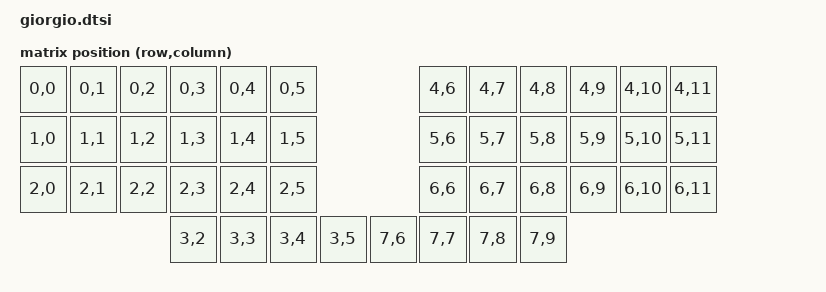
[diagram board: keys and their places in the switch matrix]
#include <dt-bindings/zmk/matrix_transform.h>
#include "giorgio-layouts.dtsi"

/ {
    chosen {
        zmk,physical-layout = &physical_layout0;
    };

    kscan0: kscan0 {
        compatible = "zmk,kscan-gpio-matrix";
        diode-direction = "col2row";
        wakeup-source;
    };

    default_transform: keymap_transform0 {
        compatible = "zmk,matrix-transform";
        columns = <12>;
        rows = <4>;
        map = <
        //  LKey 1 |LKey 2 |LKey 3 |LKey 4 |LKey 5 |LKey 6                      RKey 1 |RKey 2 |RKey 3 |RKey 4 |RKey 5  |RKey 6
        //  LKey 7 |LKey 8 |LKey 9 |LKey10 |LKey11 |LKey 12                     RKey 7 |RKey 8 |RKey 9 |RKey10 |RKey11 |RKey 12     
        //  LKey13 |LKey14 |LKey15 |LKey16 |LKey17 |LKey 18                     RKey13 |RKey14 |RKey15 |RKey16 |RKey17 |RKey 18     
        //                         |LKey19 |LKey20 |LKey21 |LKey 22     RKey19 |RKey20 |RKey21 |RKey22
            RC(0,0) RC(0,1) RC(0,2) RC(0,3) RC(0,4) RC(0,5)                     RC(4,6) RC(4,7) RC(4,8) RC(4,9) RC(4,10) RC(4,11)
            RC(1,0) RC(1,1) RC(1,2) RC(1,3) RC(1,4) RC(1,5)                     RC(5,6) RC(5,7) RC(5,8) RC(5,9) RC(5,10) RC(5,11)     
            RC(2,0) RC(2,1) RC(2,2) RC(2,3) RC(2,4) RC(2,5)                     RC(6,6) RC(6,7) RC(6,8) RC(6,9) RC(6,10) RC(6,11)     
                                    RC(3,2) RC(3,3) RC(3,4) RC(3,5)     RC(7,6) RC(7,7) RC(7,8) RC(7,9)
        >;
    };
};
